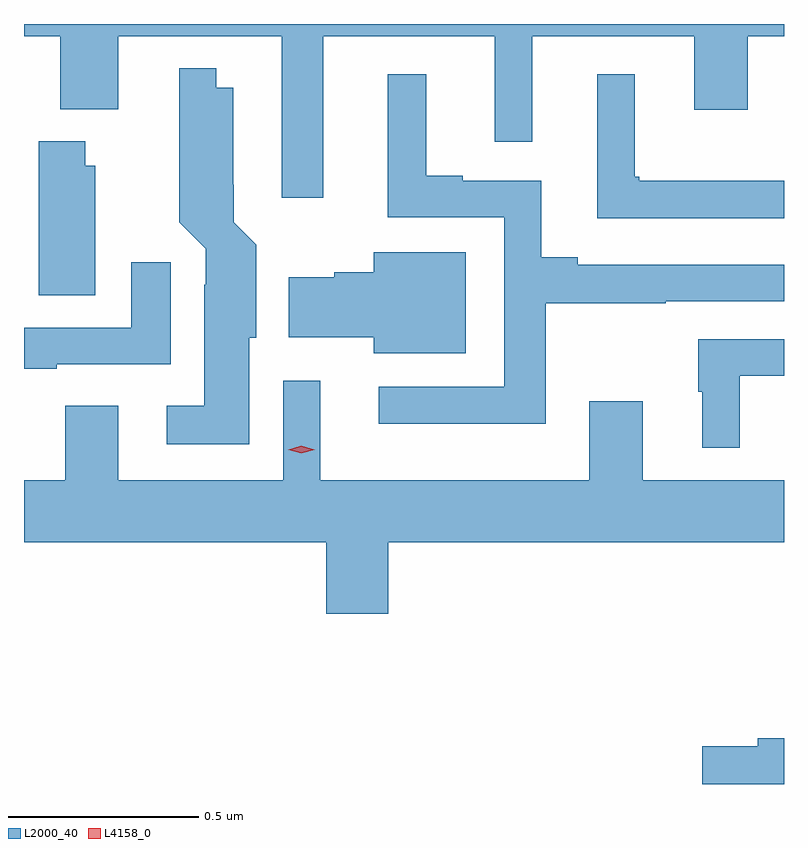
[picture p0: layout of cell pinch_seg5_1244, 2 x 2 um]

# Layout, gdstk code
import gdstk
lib = gdstk.Library(unit=1e-6, precision=1e-09)
def P(c, l, *ps):  # polygons
    for p in ps: c.add(gdstk.Polygon(p, *l))
L2000_40 = (2000, 40)
L4158_0 = (4158, 0)

pinch_seg5_1244 = lib.new_cell('pinch_seg5_1244')
P(pinch_seg5_1244, L2000_40, [(572.593,895.388),(573.044,895.388),(573.044,895.11),(573.142,895.11),(573.142,895.388),(573.569,895.388),(573.569,895.194),(573.709,895.194),(573.709,895.388),(573.805,895.388),(573.805,895.42),(571.805,895.42),(571.805,895.388),(571.901,895.388),(571.901,895.196),(572.053,895.196),(572.053,895.388),(572.483,895.388),(572.483,894.963),(572.593,894.963)],
  [(572.398,894.594),(572.416,894.594),(572.416,894.839),(572.357,894.898),(572.357,894.997),(572.356,894.997),(572.356,895.252),(572.311,895.252),(572.311,895.303),(572.214,895.303),(572.214,895),(572.213,895),(572.213,894.898),(572.283,894.828),(572.283,894.734),(572.279,894.734),(572.279,894.415),(572.181,894.415),(572.181,894.314),(572.398,894.314)],
  [(573.178,894.685),(573.494,894.685),(573.494,894.69),(573.805,894.69),(573.805,894.786),(573.262,894.786),(573.262,894.806),(573.166,894.806),(573.166,895.008),(572.959,895.008),(572.959,895.021),(572.863,895.021),(572.863,895.288),(572.762,895.288),(572.762,894.912),(573.069,894.912),(573.069,894.465),(572.739,894.465),(572.739,894.368),(573.178,894.368)],
  [(573.805,895.007),(573.424,895.007),(573.424,895.018),(573.412,895.018),(573.412,895.288),(573.314,895.288),(573.314,894.909),(573.805,894.909)],
  [(571.993,895.047),(571.966,895.047),(571.966,895.111),(571.844,895.111),(571.844,894.706),(571.993,894.706)],
  [(572.968,894.82),(572.726,894.82),(572.726,894.767),(572.622,894.767),(572.622,894.754),(572.502,894.754),(572.502,894.596),(572.726,894.596),(572.726,894.554),(572.968,894.554)],
  [(571.891,894.525),(572.191,894.525),(572.191,894.793),(572.087,894.793),(572.087,894.621),(571.805,894.621),(571.805,894.513),(571.891,894.513)],
  [(573.688,894.495),(573.805,894.495),(573.805,894.591),(573.579,894.591),(573.579,894.452),(573.59,894.452),(573.59,894.305),(573.688,894.305)],
  [(572.764,894.056),(573.805,894.056),(573.805,894.22),(573.433,894.22),(573.433,894.427),(573.293,894.427),(573.293,894.22),(572.584,894.22),(572.584,894.481),(572.487,894.481),(572.487,894.22),(572.053,894.22),(572.053,894.415),(571.913,894.415),(571.913,894.22),(571.805,894.22),(571.805,894.056),(572.6,894.056),(572.6,893.868),(572.764,893.868)],
  [(573.805,893.54),(573.736,893.54),(573.736,893.52),(573.59,893.52),(573.59,893.42),(573.805,893.42)])
P(pinch_seg5_1244, L4158_0, [(572.535,894.29),(572.5,894.3),(572.5,894.3),(572.5,894.3),(572.535,894.31),(572.57,894.3),(572.57,894.3),(572.57,894.3)])

lib.write_gds('pinch_seg5_1244.gds')
